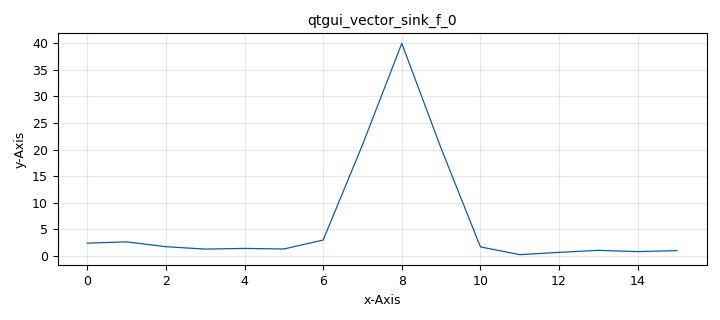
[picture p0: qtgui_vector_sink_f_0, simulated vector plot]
<?xml version='1.0' encoding='utf-8'?>
<?grc format='1' created='3.7.9'?>
<flow_graph>
<block>
<key>options</key>
<param><key>id</key><value>minecraft_output</value></param>
<param><key>category</key><value>Custom</value></param>
<param><key>generate_options</key><value>qt_gui</value></param>
</block>
<block>
<key>variable</key>
<param><key>id</key><value>FFT_size</value></param>
<param><key>value</key><value>16</value></param>
</block>
<block>
<key>variable_qtgui_range</key>
<param><key>id</key><value>center_freq</value></param>
<param><key>value</key><value>0</value></param>
<param><key>orient</key><value>Qt.Horizontal</value></param>
<param><key>start</key><value>-samp_rate/2</value></param>
<param><key>step</key><value>100</value></param>
<param><key>stop</key><value>samp_rate/2</value></param>
</block>
<block>
<key>variable</key>
<param><key>id</key><value>samp_rate</value></param>
<param><key>value</key><value>1e6</value></param>
</block>
<block>
<key>analog_noise_source_x</key>
<param><key>id</key><value>analog_noise_source_x_1</value></param>
<param><key>amp</key><value>0.5</value></param>
<param><key>noise_type</key><value>analog.GR_GAUSSIAN</value></param>
<param><key>type</key><value>complex</value></param>
<param><key>seed</key><value>0</value></param>
</block>
<block>
<key>analog_sig_source_x</key>
<param><key>id</key><value>analog_sig_source_x_0</value></param>
<param><key>amp</key><value>1</value></param>
<param><key>freq</key><value>center_freq</value></param>
<param><key>offset</key><value>0</value></param>
<param><key>type</key><value>complex</value></param>
<param><key>samp_rate</key><value>samp_rate</value></param>
<param><key>waveform</key><value>analog.GR_SIN_WAVE</value></param>
</block>
<block>
<key>blocks_add_xx</key>
<param><key>id</key><value>blocks_add_xx_0</value></param>
<param><key>type</key><value>complex</value></param>
</block>
<block>
<key>blocks_complex_to_mag_squared</key>
<param><key>id</key><value>blocks_complex_to_mag_squared_0</value></param>
<param><key>vlen</key><value>FFT_size</value></param>
</block>
<block>
<key>blocks_float_to_uchar</key>
<param><key>id</key><value>blocks_float_to_uchar_0</value></param>
</block>
<block>
<key>blocks_keep_one_in_n</key>
<param><key>id</key><value>blocks_keep_one_in_n_0</value></param>
<param><key>n</key><value>int(samp_rate)*2</value></param>
<param><key>type</key><value>float</value></param>
<param><key>vlen</key><value>FFT_size</value></param>
</block>
<block>
<key>blocks_socket_pdu</key>
<param><key>id</key><value>blocks_socket_pdu_0</value></param>
<param><key>host</key><value>0.0.0.0</value></param>
<param><key>mtu</key><value>64</value></param>
<param><key>port</key><value>9001</value></param>
<param><key>tcp_no_delay</key><value>False</value></param>
<param><key>type</key><value>"TCP_SERVER"</value></param>
</block>
<block>
<key>blocks_stream_to_tagged_stream</key>
<param><key>id</key><value>blocks_stream_to_tagged_stream_0</value></param>
<param><key>len_tag_key</key><value>"packet_len"</value></param>
<param><key>packet_len</key><value>FFT_size</value></param>
<param><key>type</key><value>byte</value></param>
</block>
<block>
<key>blocks_stream_to_vector</key>
<param><key>id</key><value>blocks_stream_to_vector_0</value></param>
<param><key>type</key><value>complex</value></param>
<param><key>num_items</key><value>FFT_size</value></param>
</block>
<block>
<key>blocks_tagged_stream_to_pdu</key>
<param><key>id</key><value>blocks_tagged_stream_to_pdu_0</value></param>
<param><key>type</key><value>byte</value></param>
<param><key>tag</key><value>packet_len</value></param>
</block>
<block>
<key>blocks_throttle</key>
<param><key>id</key><value>blocks_throttle_0</value></param>
<param><key>samples_per_second</key><value>samp_rate</value></param>
<param><key>type</key><value>float</value></param>
<param><key>vlen</key><value>FFT_size</value></param>
</block>
<block>
<key>blocks_vector_to_stream</key>
<param><key>id</key><value>blocks_vector_to_stream_0</value></param>
<param><key>type</key><value>float</value></param>
<param><key>num_items</key><value>FFT_size</value></param>
</block>
<block>
<key>fft_vxx</key>
<param><key>id</key><value>fft_vxx_0</value></param>
<param><key>fft_size</key><value>FFT_size</value></param>
<param><key>forward</key><value>True</value></param>
<param><key>type</key><value>complex</value></param>
<param><key>shift</key><value>True</value></param>
<param><key>window</key><value>window.blackmanharris(FFT_size)</value></param>
</block>
<block>
<key>qtgui_freq_sink_x</key>
<param><key>id</key><value>qtgui_freq_sink_x_0</value></param>
<param><key>bw</key><value>samp_rate</value></param>
<param><key>fc</key><value>0</value></param>
<param><key>fftsize</key><value>1024</value></param>
<param><key>showports</key><value>True</value></param>
<param><key>type</key><value>complex</value></param>
<param><key>wintype</key><value>firdes.WIN_BLACKMAN_hARRIS</value></param>
</block>
<block>
<key>qtgui_vector_sink_f</key>
<param><key>id</key><value>qtgui_vector_sink_f_0</value></param>
<param><key>autoscale</key><value>True</value></param>
<param><key>showports</key><value>True</value></param>
<param><key>vlen</key><value>FFT_size</value></param>
<param><key>x_start</key><value>0</value></param>
<param><key>x_step</key><value>1.0</value></param>
</block>
<connection><source_block_id>analog_noise_source_x_1</source_block_id><sink_block_id>blocks_add_xx_0</sink_block_id><source_key>0</source_key><sink_key>1</sink_key></connection>
<connection><source_block_id>analog_sig_source_x_0</source_block_id><sink_block_id>blocks_add_xx_0</sink_block_id><source_key>0</source_key><sink_key>0</sink_key></connection>
<connection><source_block_id>analog_sig_source_x_0</source_block_id><sink_block_id>qtgui_freq_sink_x_0</sink_block_id><source_key>0</source_key><sink_key>0</sink_key></connection>
<connection><source_block_id>blocks_add_xx_0</source_block_id><sink_block_id>blocks_stream_to_vector_0</sink_block_id><source_key>0</source_key><sink_key>0</sink_key></connection>
<connection><source_block_id>blocks_complex_to_mag_squared_0</source_block_id><sink_block_id>blocks_throttle_0</sink_block_id><source_key>0</source_key><sink_key>0</sink_key></connection>
<connection><source_block_id>blocks_float_to_uchar_0</source_block_id><sink_block_id>blocks_stream_to_tagged_stream_0</sink_block_id><source_key>0</source_key><sink_key>0</sink_key></connection>
<connection><source_block_id>blocks_keep_one_in_n_0</source_block_id><sink_block_id>blocks_vector_to_stream_0</sink_block_id><source_key>0</source_key><sink_key>0</sink_key></connection>
<connection><source_block_id>blocks_stream_to_tagged_stream_0</source_block_id><sink_block_id>blocks_tagged_stream_to_pdu_0</sink_block_id><source_key>0</source_key><sink_key>0</sink_key></connection>
<connection><source_block_id>blocks_stream_to_vector_0</source_block_id><sink_block_id>fft_vxx_0</sink_block_id><source_key>0</source_key><sink_key>0</sink_key></connection>
<connection><source_block_id>blocks_tagged_stream_to_pdu_0</source_block_id><sink_block_id>blocks_socket_pdu_0</sink_block_id><source_key>pdus</source_key><sink_key>pdus</sink_key></connection>
<connection><source_block_id>blocks_throttle_0</source_block_id><sink_block_id>blocks_keep_one_in_n_0</sink_block_id><source_key>0</source_key><sink_key>0</sink_key></connection>
<connection><source_block_id>blocks_throttle_0</source_block_id><sink_block_id>qtgui_vector_sink_f_0</sink_block_id><source_key>0</source_key><sink_key>0</sink_key></connection>
<connection><source_block_id>blocks_vector_to_stream_0</source_block_id><sink_block_id>blocks_float_to_uchar_0</sink_block_id><source_key>0</source_key><sink_key>0</sink_key></connection>
<connection><source_block_id>fft_vxx_0</source_block_id><sink_block_id>blocks_complex_to_mag_squared_0</sink_block_id><source_key>0</source_key><sink_key>0</sink_key></connection>
</flow_graph>
